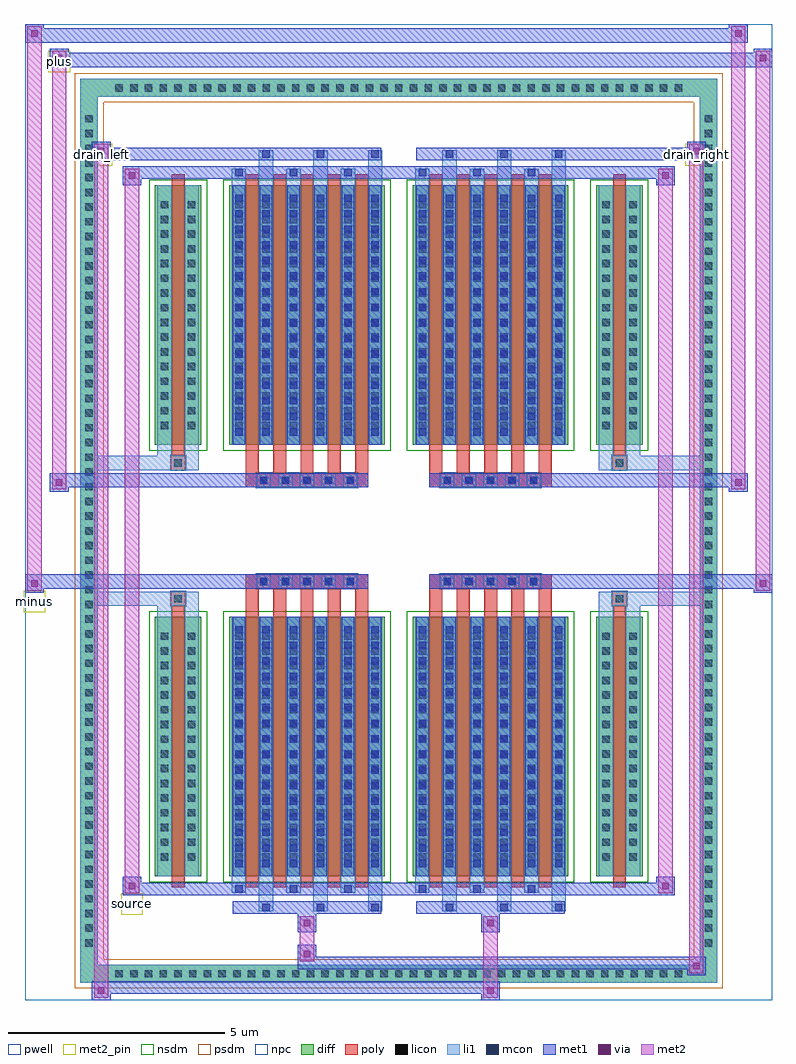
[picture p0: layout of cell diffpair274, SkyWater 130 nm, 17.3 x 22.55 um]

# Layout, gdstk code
import gdstk
lib = gdstk.Library(unit=1e-6, precision=5e-09)
def R(c, l, rs):  # rectangles x0, y0, x1, y1
    for r in rs: c.add(gdstk.rectangle(r[:2], r[2:], *l))
def A(c, l, x, y, w, h, nx, ny, dx, dy):  # array of equal rectangles
    R(c, l, [(x+i*dx, y+j*dy, x+i*dx+w, y+j*dy+h) for i in range(nx) for j in range(ny)])
def P(c, l, *ps):  # polygons
    for p in ps: c.add(gdstk.Polygon(p, *l))
pwell = (64, 44)
diff = (65, 20)
poly = (66, 20)
licon = (66, 44)
li1 = (67, 20)
mcon = (67, 44)
met1 = (68, 20)
via = (68, 44)
met2_pin = (69, 16)
met2 = (69, 20)
nsdm = (93, 44)
psdm = (94, 20)
npc = (95, 20)

diffpair274 = lib.new_cell('diffpair274')
R(diffpair274, pwell, [(-8.63,-10.84,8.63,11.71), (-5.95,-9.03,-0.01,-0.805), (0.01,-9.03,5.95,-0.805), (-5.95,0.805,-0.01,9.03), (0.01,0.805,5.95,9.03)])
A(diffpair274, diff, -6.665, -10.44, 0.41, 0.41, 39, 2, 0.34, 20.47)
A(diffpair274, diff, -7.36, -9.725, 0.41, 0.41, 1, 57, 0, 0.34)
A(diffpair274, diff, 6.95, -9.725, 0.41, 0.41, 1, 57, 0, 0.34)
R(diffpair274, diff, [(-6.665,-10.44,6.665,-10.03), (-7.36,-9.725,-6.95,9.725), (6.95,-9.725,7.36,9.725), (-5.64,-7.985,-4.56,-1.985), (-3.92,-7.985,-0.32,-1.985), (0.32,-7.985,3.92,-1.985), (4.56,-7.985,5.64,-1.985), (-5.64,1.985,-4.56,7.985), (-3.92,1.985,-0.32,7.985), (0.32,1.985,3.92,7.985), (4.56,1.985,5.64,7.985), (-6.665,10.03,6.665,10.44)])
P(diffpair274, diff, [(7.36,10.44),(-7.36,10.44),(-7.36,-10.03),(-6.95,-10.03),(-6.95,10.03),(6.95,10.03),(6.95,-10.03),(-6.95,-10.03),(-7.36,-10.03),(-7.36,-10.44),(7.36,-10.44)])
A(diffpair274, poly, -3.53, -8.235, 0.3, 6.5, 5, 2, 0.63, 9.97)
A(diffpair274, poly, 0.71, -8.235, 0.3, 6.5, 5, 2, 0.63, 9.97)
A(diffpair274, poly, -3.53, -1.735, 0.3, 0.4, 5, 2, 0.63, 3.07)
A(diffpair274, poly, 0.71, -1.735, 0.3, 0.4, 5, 2, 0.63, 3.07)
A(diffpair274, poly, -3.285, -1.335, 0.33, 0.33, 5, 2, 0.5, 2.34)
A(diffpair274, poly, 0.955, -1.335, 0.33, 0.33, 5, 2, 0.5, 2.34)
R(diffpair274, poly, [(-5.25,-8.235,-4.95,-1.735), (4.95,-8.235,5.25,-1.735), (-5.265,-1.735,-4.935,-1.405), (-5.265,-1.735,-4.935,-1.405), (4.935,-1.735,5.265,-1.405), (4.935,-1.735,5.265,-1.405), (-3.53,-1.335,-0.71,-1.005), (0.71,-1.335,3.53,-1.005), (-3.53,1.005,-0.71,1.335), (0.71,1.005,3.53,1.335), (-5.265,1.405,-4.935,1.735), (-5.265,1.405,-4.935,1.735), (4.935,1.405,5.265,1.735), (4.935,1.405,5.265,1.735), (-5.25,1.735,-4.95,8.235), (4.95,1.735,5.25,8.235)])
A(diffpair274, licon, -6.545, -10.32, 0.17, 0.17, 39, 2, 0.34, 20.47)
A(diffpair274, licon, -7.24, -9.605, 0.17, 0.17, 1, 57, 0, 0.34)
A(diffpair274, licon, 7.07, -9.605, 0.17, 0.17, 1, 57, 0, 0.34)
A(diffpair274, licon, -5.5, -7.62, 0.17, 0.17, 1, 16, 0, 0.34)
A(diffpair274, licon, -4.87, -7.62, 0.17, 0.17, 1, 16, 0, 0.34)
A(diffpair274, licon, -3.78, -7.62, 0.17, 0.17, 6, 16, 0.63, 0.34)
A(diffpair274, licon, 0.46, -7.62, 0.17, 0.17, 6, 16, 0.63, 0.34)
A(diffpair274, licon, 4.7, -7.62, 0.17, 0.17, 1, 16, 0, 0.34)
A(diffpair274, licon, 5.33, -7.62, 0.17, 0.17, 1, 16, 0, 0.34)
A(diffpair274, licon, -3.205, -1.255, 0.17, 0.17, 5, 2, 0.5, 2.34)
A(diffpair274, licon, 1.035, -1.255, 0.17, 0.17, 5, 2, 0.5, 2.34)
A(diffpair274, licon, -5.5, 2.35, 0.17, 0.17, 1, 16, 0, 0.34)
A(diffpair274, licon, -4.87, 2.35, 0.17, 0.17, 1, 16, 0, 0.34)
A(diffpair274, licon, -3.78, 2.35, 0.17, 0.17, 6, 16, 0.63, 0.34)
A(diffpair274, licon, 0.46, 2.35, 0.17, 0.17, 6, 16, 0.63, 0.34)
A(diffpair274, licon, 4.7, 2.35, 0.17, 0.17, 1, 16, 0, 0.34)
A(diffpair274, licon, 5.33, 2.35, 0.17, 0.17, 1, 16, 0, 0.34)
R(diffpair274, licon, [(-5.185,-1.655,-5.015,-1.485), (5.015,-1.655,5.185,-1.485), (-5.185,1.485,-5.015,1.655), (5.015,1.485,5.185,1.655)])
A(diffpair274, li1, -6.625, -10.4, 0.33, 0.33, 39, 2, 0.34, 20.47)
A(diffpair274, li1, -7.32, -9.685, 0.33, 0.33, 1, 57, 0, 0.34)
A(diffpair274, li1, 6.99, -9.685, 0.33, 0.33, 1, 57, 0, 0.34)
A(diffpair274, li1, -3.23, -8.79, 0.33, 0.805, 3, 2, 1.26, 16.775)
A(diffpair274, li1, -3.15, -8.79, 0.17, 0.17, 3, 2, 1.26, 17.41)
A(diffpair274, li1, 1.01, -8.79, 0.33, 0.805, 3, 2, 1.26, 16.775)
A(diffpair274, li1, 1.09, -8.79, 0.17, 0.17, 3, 2, 1.26, 17.41)
A(diffpair274, li1, -3.86, -8.36, 0.33, 0.375, 3, 2, 1.26, 16.345)
A(diffpair274, li1, -3.78, -8.36, 0.17, 0.17, 3, 2, 1.26, 16.55)
A(diffpair274, li1, 0.38, -8.36, 0.33, 0.375, 3, 2, 1.26, 16.345)
A(diffpair274, li1, 0.46, -8.36, 0.17, 0.17, 3, 2, 1.26, 16.55)
A(diffpair274, li1, -3.86, -7.985, 0.33, 6, 6, 2, 0.63, 9.97)
A(diffpair274, li1, 0.38, -7.985, 0.33, 6, 6, 2, 0.63, 9.97)
A(diffpair274, li1, -3.78, -7.77, 0.17, 0.17, 6, 16, 0.63, 0.36)
A(diffpair274, li1, -3.78, -7.77, 0.17, 5.57, 6, 2, 0.63, 9.97)
A(diffpair274, li1, 0.46, -7.77, 0.17, 0.17, 6, 16, 0.63, 0.36)
A(diffpair274, li1, 0.46, -7.77, 0.17, 5.57, 6, 2, 0.63, 9.97)
A(diffpair274, li1, -5.58, -7.7, 0.33, 0.33, 1, 16, 0, 0.34)
A(diffpair274, li1, -4.95, -7.7, 0.33, 0.33, 1, 16, 0, 0.34)
A(diffpair274, li1, -3.86, -7.7, 0.33, 0.33, 6, 16, 0.63, 0.34)
A(diffpair274, li1, 0.38, -7.7, 0.33, 0.33, 6, 16, 0.63, 0.34)
A(diffpair274, li1, 4.62, -7.7, 0.33, 0.33, 1, 16, 0, 0.34)
A(diffpair274, li1, 5.25, -7.7, 0.33, 0.33, 1, 16, 0, 0.34)
A(diffpair274, li1, -3.285, -1.335, 0.33, 0.33, 5, 2, 0.5, 2.34)
A(diffpair274, li1, 0.955, -1.335, 0.33, 0.33, 5, 2, 0.5, 2.34)
A(diffpair274, li1, -3.78, 2.2, 0.17, 0.17, 6, 16, 0.63, 0.36)
A(diffpair274, li1, 0.46, 2.2, 0.17, 0.17, 6, 16, 0.63, 0.36)
A(diffpair274, li1, -5.58, 2.27, 0.33, 0.33, 1, 16, 0, 0.34)
A(diffpair274, li1, -4.95, 2.27, 0.33, 0.33, 1, 16, 0, 0.34)
A(diffpair274, li1, -3.86, 2.27, 0.33, 0.33, 6, 16, 0.63, 0.34)
A(diffpair274, li1, 0.38, 2.27, 0.33, 0.33, 6, 16, 0.63, 0.34)
A(diffpair274, li1, 4.62, 2.27, 0.33, 0.33, 1, 16, 0, 0.34)
A(diffpair274, li1, 5.25, 2.27, 0.33, 0.33, 1, 16, 0, 0.34)
R(diffpair274, li1, [(-7.36,-10.44,-6.95,-10.03), (-7.36,-10.44,-6.95,-10.03), (-6.95,-10.44,6.95,-10.03), (6.95,-10.44,7.36,-10.03), (6.95,-10.44,7.36,-10.03), (-7.36,-10.03,-6.95,10.03), (6.95,-10.03,7.36,10.03), (-5.58,-7.985,-5.25,-1.985), (-4.95,-7.985,-4.62,-1.985), (4.62,-7.985,4.95,-1.985), (5.25,-7.985,5.58,-1.985), (-5.58,-1.985,-5.25,-1.405), (-4.95,-1.985,-4.62,-1.405), (4.62,-1.985,4.95,-1.405), (5.25,-1.985,5.58,-1.405), (-7.36,-1.735,-5.265,-1.405), (-5.58,-1.735,-5.265,-1.405), (-5.265,-1.735,-4.935,-1.405), (-4.935,-1.735,-4.62,-1.405), (4.62,-1.735,4.935,-1.405), (4.935,-1.735,5.265,-1.405), (4.935,-1.735,7.36,-1.405), (5.265,-1.735,5.58,-1.405), (-7.36,1.405,-5.265,1.735), (-5.58,1.405,-5.265,1.735), (-5.58,1.405,-5.25,1.985), (-5.265,1.405,-4.935,1.735), (-4.95,1.405,-4.62,1.985), (-4.935,1.405,-4.62,1.735), (4.62,1.405,4.935,1.735), (4.62,1.405,4.95,1.985), (4.935,1.405,5.265,1.735), (4.935,1.405,7.36,1.735), (5.25,1.405,5.58,1.985), (5.265,1.405,5.58,1.735), (-5.58,1.985,-5.25,7.985), (-4.95,1.985,-4.62,7.985), (4.62,1.985,4.95,7.985), (5.25,1.985,5.58,7.985), (-7.36,10.03,-6.95,10.44), (-7.36,10.03,-6.95,10.44), (-6.95,10.03,6.95,10.44), (6.95,10.03,7.36,10.44), (6.95,10.03,7.36,10.44)])
A(diffpair274, mcon, -3.15, -8.79, 0.17, 0.17, 3, 2, 1.26, 17.41)
A(diffpair274, mcon, 1.09, -8.79, 0.17, 0.17, 3, 2, 1.26, 17.41)
A(diffpair274, mcon, -3.78, -8.36, 0.17, 0.17, 3, 2, 1.26, 16.55)
A(diffpair274, mcon, 0.46, -8.36, 0.17, 0.17, 3, 2, 1.26, 16.55)
A(diffpair274, mcon, -3.78, -7.77, 0.17, 0.17, 6, 16, 0.63, 0.36)
A(diffpair274, mcon, 0.46, -7.77, 0.17, 0.17, 6, 16, 0.63, 0.36)
A(diffpair274, mcon, -3.205, -1.255, 0.17, 0.17, 5, 2, 0.5, 2.34)
A(diffpair274, mcon, 1.035, -1.255, 0.17, 0.17, 5, 2, 0.5, 2.34)
A(diffpair274, mcon, -3.78, 2.2, 0.17, 0.17, 6, 16, 0.63, 0.36)
A(diffpair274, mcon, 0.46, 2.2, 0.17, 0.17, 6, 16, 0.63, 0.36)
A(diffpair274, met1, -3.21, -8.85, 0.29, 0.29, 3, 2, 1.26, 17.41)
A(diffpair274, met1, 1.03, -8.85, 0.29, 0.29, 3, 2, 1.26, 17.41)
A(diffpair274, met1, -3.84, -8.42, 0.29, 0.29, 3, 2, 1.26, 16.55)
A(diffpair274, met1, 0.4, -8.42, 0.29, 0.29, 3, 2, 1.26, 16.55)
A(diffpair274, met1, -3.84, -7.985, 0.29, 6, 6, 2, 0.63, 9.97)
A(diffpair274, met1, 0.4, -7.985, 0.29, 6, 6, 2, 0.63, 9.97)
A(diffpair274, met1, -3.84, -7.83, 0.29, 0.29, 6, 16, 0.63, 0.36)
A(diffpair274, met1, 0.4, -7.83, 0.29, 0.29, 6, 16, 0.63, 0.36)
A(diffpair274, met1, -3.265, -1.315, 0.29, 0.29, 5, 2, 0.5, 2.34)
A(diffpair274, met1, 0.975, -1.315, 0.29, 0.29, 5, 2, 0.5, 2.34)
A(diffpair274, met1, -3.84, 2.14, 0.29, 0.29, 6, 16, 0.63, 0.36)
A(diffpair274, met1, 0.4, 2.14, 0.29, 0.29, 6, 16, 0.63, 0.36)
R(diffpair274, met1, [(-7.09,-10.84,-6.66,-10.41), (1.905,-10.84,2.335,-10.41), (-7.09,-10.7,2.335,-10.41), (6.66,-10.27,7.09,-9.84), (-2.335,-10.13,7.09,-9.84), (-2.335,-9.99,-1.905,-9.56), (-2.335,-9.28,-1.905,-8.85), (1.905,-9.28,2.335,-8.85), (-3.84,-8.85,-0.4,-8.56), (0.4,-8.85,3.84,-8.56), (-6.38,-8.42,-5.95,-7.99), (-6.38,-8.42,-3.84,-8.13), (-3.84,-8.42,-0.4,-8.13), (-0.4,-8.42,0.4,-8.13), (0.4,-8.42,3.84,-8.13), (3.84,-8.42,6.38,-8.13), (5.95,-8.42,6.38,-7.99), (-8.63,-1.435,-8.2,-1.005), (8.2,-1.435,8.63,-1.005), (-8.63,-1.335,-0.71,-1.005), (-3.53,-1.335,-0.71,-1.005), (0.71,-1.335,3.53,-1.005), (0.71,-1.335,8.63,-1.005), (-8.06,0.905,-7.63,1.335), (7.63,0.905,8.06,1.335), (-8.06,1.005,-3.53,1.335), (-3.53,1.005,-0.71,1.335), (0.71,1.005,3.53,1.335), (3.53,1.005,8.06,1.335), (-6.38,7.99,-5.95,8.42), (5.95,7.99,6.38,8.42), (-6.38,8.13,-3.84,8.42), (-3.84,8.13,-0.4,8.42), (-0.4,8.13,0.4,8.42), (0.4,8.13,3.84,8.42), (3.84,8.13,6.38,8.42), (-7.09,8.56,-6.66,8.99), (-7.09,8.56,-3.84,8.85), (-3.84,8.56,-0.4,8.85), (0.4,8.56,3.84,8.85), (3.84,8.56,7.09,8.85), (6.66,8.56,7.09,8.99), (-8.06,10.71,-7.63,11.14), (-8.06,10.71,-5.95,11.04), (-5.95,10.71,5.95,11.04), (5.95,10.71,8.63,11.04), (8.2,10.71,8.63,11.14), (-8.63,11.28,-8.2,11.71), (-8.63,11.28,-5.95,11.61), (-5.95,11.28,5.95,11.61), (5.95,11.28,8.06,11.61), (7.63,11.28,8.06,11.71)])
R(diffpair274, via, [(-6.95,-10.7,-6.8,-10.55), (2.045,-10.7,2.195,-10.55), (6.8,-10.13,6.95,-9.98), (-2.195,-9.85,-2.045,-9.7), (-2.195,-9.14,-2.045,-8.99), (2.045,-9.14,2.195,-8.99), (-6.24,-8.28,-6.09,-8.13), (6.09,-8.28,6.24,-8.13), (-8.49,-1.295,-8.34,-1.145), (8.34,-1.295,8.49,-1.145), (-7.92,1.045,-7.77,1.195), (7.77,1.045,7.92,1.195), (-6.24,8.13,-6.09,8.28), (6.09,8.13,6.24,8.28), (-6.95,8.7,-6.8,8.85), (6.8,8.7,6.95,8.85), (-7.92,10.85,-7.77,11), (8.34,10.85,8.49,11), (-8.49,11.42,-8.34,11.57), (7.77,11.42,7.92,11.57)])
R(diffpair274, met2_pin, [(-6.415,-8.87,-5.915,-8.37), (-8.665,-1.885,-8.165,-1.385), (-7.125,8.44,-6.625,8.94), (6.625,8.44,7.125,8.94), (-8.095,10.59,-7.595,11.09)])
R(diffpair274, met2, [(-7.04,-10.79,-6.71,-10.46), (-7.04,-10.79,-6.71,8.94), (1.955,-10.79,2.285,-10.46), (1.955,-10.46,2.285,-9.23), (6.71,-10.22,7.04,-9.89), (6.71,-10.22,7.04,8.94), (-2.285,-9.94,-1.955,-9.61), (-2.285,-9.61,-1.955,-9.23), (-2.285,-9.23,-1.955,-8.9), (1.955,-9.23,2.285,-8.9), (-6.33,-8.37,-6,-8.04), (-6.33,-8.37,-6,8.37), (6,-8.37,6.33,-8.04), (6,-8.37,6.33,8.37), (-8.58,-1.385,-8.25,-1.055), (-8.58,-1.385,-8.25,11.66), (8.25,-1.385,8.58,-1.055), (8.25,-1.385,8.58,11.09), (-8.01,0.955,-7.68,1.285), (-8.01,0.955,-7.68,11.09), (7.68,0.955,8.01,1.285), (7.68,0.955,8.01,11.66), (-6.33,8.04,-6,8.37), (6,8.04,6.33,8.37), (-7.04,8.61,-6.71,8.94), (6.71,8.61,7.04,8.94), (-8.01,10.76,-7.68,11.09), (8.25,10.76,8.58,11.09), (-8.58,11.33,-8.25,11.66), (7.68,11.33,8.01,11.66)])
P(diffpair274, met2, [(8.58,-1.385),(8.58,-1.385),(8.58,-1.055),(8.58,-1.055)],
  [(8.58,10.76),(8.58,10.76),(8.58,11.09),(8.58,11.09)],
  [(-8.25,-1.385),(-8.25,-1.385),(-8.25,-1.055),(-8.25,-1.055)],
  [(-8.25,11.33),(-8.25,11.33),(-8.25,11.66),(-8.25,11.66)],
  [(8.01,0.955),(8.01,0.955),(8.01,1.285),(8.01,1.285)],
  [(8.01,11.33),(8.01,11.33),(8.01,11.66),(8.01,11.66)],
  [(-7.68,0.955),(-7.68,0.955),(-7.68,1.285),(-7.68,1.285)],
  [(-7.68,10.76),(-7.68,10.76),(-7.68,11.09),(-7.68,11.09)],
  [(-6.71,-10.79),(-6.71,-10.79),(-6.71,-10.46),(-6.71,-10.46)],
  [(-6.71,8.61),(-6.71,8.61),(-6.71,8.94),(-6.71,8.94)],
  [(7.04,-10.22),(7.04,-10.22),(7.04,-9.89),(7.04,-9.89)],
  [(7.04,8.61),(7.04,8.61),(7.04,8.94),(7.04,8.94)],
  [(-6,-8.37),(-6,-8.37),(-6,-8.04),(-6,-8.04)],
  [(-6,8.04),(-6,8.04),(-6,8.37),(-6,8.37)],
  [(6.33,-8.37),(6.33,-8.37),(6.33,-8.04),(6.33,-8.04)],
  [(6.33,8.04),(6.33,8.04),(6.33,8.37),(6.33,8.37)])
R(diffpair274, nsdm, [(-5.77,-8.115,-4.43,-1.855), (-4.05,-8.115,-0.19,-1.855), (0.19,-8.115,4.05,-1.855), (4.43,-8.115,5.77,-1.855), (-5.77,1.855,-4.43,8.115), (-4.05,1.855,-0.19,8.115), (0.19,1.855,4.05,8.115), (4.43,1.855,5.77,8.115)])
P(diffpair274, psdm, [(7.49,10.57),(-7.49,10.57),(-7.49,-9.9),(-6.82,-9.9),(-6.82,9.9),(6.82,9.9),(6.82,-9.9),(-6.82,-9.9),(-7.49,-9.9),(-7.49,-10.57),(7.49,-10.57)])
A(diffpair274, npc, -3.305, -1.355, 0.37, 0.37, 5, 2, 0.5, 2.34)
A(diffpair274, npc, 0.935, -1.355, 0.37, 0.37, 5, 2, 0.5, 2.34)
R(diffpair274, npc, [(-5.285,-1.755,-4.915,-1.385), (4.915,-1.755,5.285,-1.385), (-3.305,-1.355,-2.435,-0.985), (-3.305,-1.355,-2.435,-0.985), (-2.805,-1.355,-1.935,-0.985), (-2.805,-1.355,-1.935,-0.985), (-2.305,-1.355,-1.435,-0.985), (-2.305,-1.355,-1.435,-0.985), (-1.805,-1.355,-0.935,-0.985), (-1.805,-1.355,-0.935,-0.985), (0.935,-1.355,1.805,-0.985), (0.935,-1.355,1.805,-0.985), (1.435,-1.355,2.305,-0.985), (1.435,-1.355,2.305,-0.985), (1.935,-1.355,2.805,-0.985), (1.935,-1.355,2.805,-0.985), (2.435,-1.355,3.305,-0.985), (2.435,-1.355,3.305,-0.985), (-3.305,0.985,-2.435,1.355), (-3.305,0.985,-2.435,1.355), (-2.805,0.985,-1.935,1.355), (-2.805,0.985,-1.935,1.355), (-2.305,0.985,-1.435,1.355), (-2.305,0.985,-1.435,1.355), (-1.805,0.985,-0.935,1.355), (-1.805,0.985,-0.935,1.355), (0.935,0.985,1.805,1.355), (0.935,0.985,1.805,1.355), (1.435,0.985,2.305,1.355), (1.435,0.985,2.305,1.355), (1.935,0.985,2.805,1.355), (1.935,0.985,2.805,1.355), (2.435,0.985,3.305,1.355), (2.435,0.985,3.305,1.355), (-5.285,1.385,-4.915,1.755), (4.915,1.385,5.285,1.755)])
diffpair274.add(gdstk.Label('minus', (-8.415,-1.635), layer=69, texttype=5))
diffpair274.add(gdstk.Label('drain_right', (6.875,8.69), layer=69, texttype=5))
diffpair274.add(gdstk.Label('drain_left', (-6.875,8.69), layer=69, texttype=5))
diffpair274.add(gdstk.Label('source', (-6.165,-8.62), layer=69, texttype=5))
diffpair274.add(gdstk.Label('plus', (-7.845,10.84), layer=69, texttype=5))

lib.write_gds('diffpair274.gds')
